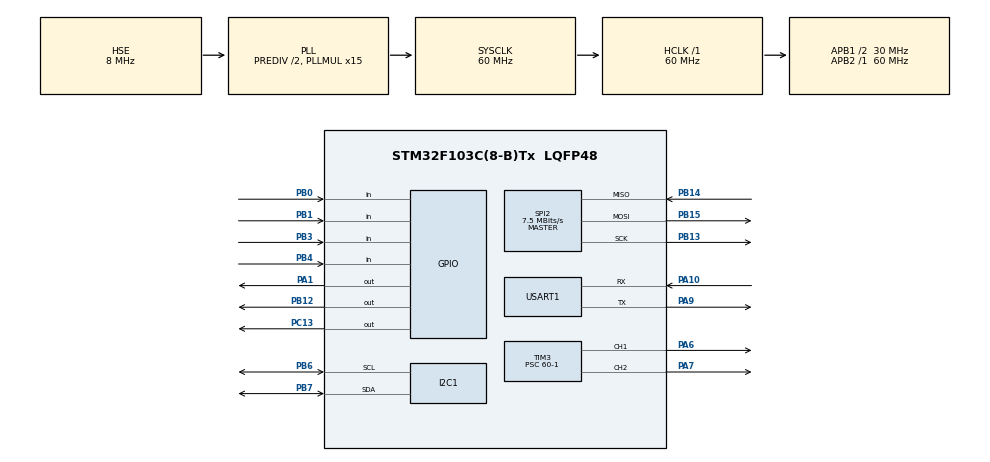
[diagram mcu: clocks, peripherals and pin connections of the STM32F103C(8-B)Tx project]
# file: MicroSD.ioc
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FATFS._MAX_SS=4096
FATFS._USE_LFN=2
FREERTOS.BinarySemaphores01=DC_Motor_Sem,Dynamic,NULL
FREERTOS.Queues01=Mail_Queue,16,Data_Flash_t,0,Dynamic,NULL,NULL;Msg_Queue,16,uint32_t,0,Dynamic,NULL,NULL
FREERTOS.Tasks01=Display_Task,-2,128,Start_Display_Task,Default,NULL,Dynamic,NULL,NULL;Check_Key_Task,2,128,Start_Check_Key_Task,Default,NULL,Dynamic,NULL,NULL;Nhietdo_Task,1,128,Start_Nhietdo_Task,Default,NULL,Dynamic,NULL,NULL;SD_Card_Task,0,128,Start_SD_Card_Task,Default,NULL,Dynamic,NULL,NULL;DC_Motor_Task,2,128,Start_DC_Motor_Task,Default,NULL,Dynamic,NULL,NULL;Flash_Mail_Task,0,128,Start_Flash_Mail_Task,Default,NULL,Dynamic,NULL,NULL;Flash_Msg_Task,0,128,Start_Flash_Msg_Task,Default,NULL,Dynamic,NULL,NULL
FREERTOS.configTOTAL_HEAP_SIZE=6144
IWDG.Prescaler=IWDG_PRESCALER_64
IWDG.Reload=1874
Mcu.Family=STM32F1
Mcu.Name=STM32F103C(8-B)Tx
Mcu.Package=LQFP48
NVIC.PriorityGroup=NVIC_PRIORITYGROUP_4
NVIC.TIM1_UP_IRQn=true\:0\:0\:true\:false\:true\:false\:false\:true\:true
NVIC.TIM4_IRQn=true\:5\:0\:false\:false\:true\:true\:true\:true\:true
NVIC.TimeBase=TIM1_UP_IRQn
NVIC.TimeBaseIP=TIM1
PA1.Signal=GPIO_Output
PA10.Mode=Asynchronous
PA10.Signal=USART1_RX
PA13.Mode=Serial_Wire
PA13.Signal=SYS_JTMS-SWDIO
PA14.Mode=Serial_Wire
PA14.Signal=SYS_JTCK-SWCLK
PA6.Signal=S_TIM3_CH1
PA7.Signal=S_TIM3_CH2
PA9.Mode=Asynchronous
PA9.Signal=USART1_TX
PB0.Signal=GPIO_Input
PB1.Signal=GPIO_Input
PB12.Signal=GPIO_Output
PB13.Mode=Full_Duplex_Master
PB13.Signal=SPI2_SCK
PB14.Mode=Full_Duplex_Master
PB14.Signal=SPI2_MISO
PB15.Mode=Full_Duplex_Master
PB15.Signal=SPI2_MOSI
PB3.Signal=GPIO_Input
PB4.Signal=GPIO_Input
PB6.Mode=I2C
PB6.Signal=I2C1_SCL
PB7.Mode=I2C
PB7.Signal=I2C1_SDA
PC13-TAMPER-RTC.Signal=GPIO_Output
PC14-OSC32_IN.Mode=LSE-External-Oscillator
PC14-OSC32_IN.Signal=RCC_OSC32_IN
PC15-OSC32_OUT.Mode=LSE-External-Oscillator
PC15-OSC32_OUT.Signal=RCC_OSC32_OUT
PD0-OSC_IN.Mode=HSE-External-Oscillator
PD0-OSC_IN.Signal=RCC_OSC_IN
PD1-OSC_OUT.Mode=HSE-External-Oscillator
PD1-OSC_OUT.Signal=RCC_OSC_OUT
ProjectManager.HeapSize=0x200
ProjectManager.StackSize=0x400
ProjectManager.TargetToolchain=MDK-ARM V5.32
RCC.AHBFreq_Value=60000000
RCC.APB1CLKDivider=RCC_HCLK_DIV2
RCC.APB1Freq_Value=30000000
RCC.APB1TimFreq_Value=60000000
RCC.APB2Freq_Value=60000000
RCC.APB2TimFreq_Value=60000000
RCC.HCLKFreq_Value=60000000
RCC.HSEDivPLL=RCC_HSE_PREDIV_DIV2
RCC.PLLMUL=RCC_PLL_MUL15
RCC.PLLSourceVirtual=RCC_PLLSOURCE_HSE
RCC.SYSCLKFreq_VALUE=60000000
RCC.SYSCLKSource=RCC_SYSCLKSOURCE_PLLCLK
RCC.USBFreq_Value=60000000
SH.S_TIM3_CH1.0=TIM3_CH1,PWM Generation1 CH1
SH.S_TIM3_CH2.0=TIM3_CH2,PWM Generation2 CH2
SPI2.BaudRatePrescaler=SPI_BAUDRATEPRESCALER_4
SPI2.CalculateBaudRate=7.5 MBits/s
SPI2.Direction=SPI_DIRECTION_2LINES
SPI2.Mode=SPI_MODE_MASTER
SPI2.VirtualType=VM_MASTER
TIM2.Prescaler=60-1
TIM3.Channel-PWM\ Generation1\ CH1=TIM_CHANNEL_1
TIM3.Channel-PWM\ Generation2\ CH2=TIM_CHANNEL_2
TIM3.Period=1000-1
TIM3.Prescaler=60-1
TIM4.Period=1000-1
TIM4.Prescaler=60000-1
TIM4.TIM_MasterOutputTrigger=TIM_TRGO_UPDATE
USART1.VirtualMode=VM_ASYNC
VP_FATFS_VS_Generic.Mode=User_defined
VP_FREERTOS_VS_CMSIS_V1.Mode=CMSIS_V1
VP_IWDG_VS_IWDG.Mode=IWDG_Activate
VP_SYS_VS_tim1.Mode=TIM1
VP_TIM2_VS_ClockSourceINT.Mode=Internal
VP_TIM4_VS_ClockSourceINT.Mode=Internal
board=custom

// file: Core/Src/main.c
/* USER CODE BEGIN Header */
/**
  ******************************************************************************
  * @file           : main.c
  * @brief          : Main program body
  ******************************************************************************
  * @attention
  *
  * Copyright (c) 2023 STMicroelectronics.
  * All rights reserved.
  *
  * This software is licensed under terms that can be found in the LICENSE file
  * in the root directory of this software component.
  * If no LICENSE file comes with this software, it is provided AS-IS.
  *
  ******************************************************************************
  */
/* USER CODE END Header */
#include "main.h"
#include "cmsis_os.h"
#include "fatfs.h"

/* USER CODE BEGIN Includes */
#include "fatfs_sd.h"
#include <string.h>
#include <stdio.h>
#include "keypad.h"
#include "flash.h"
#include "ds18b20.h"
#include "DC_motor.h"
#include "CLCD_I2C.h"
/* USER CODE END Includes */

I2C_HandleTypeDef hi2c1;

IWDG_HandleTypeDef hiwdg;

SPI_HandleTypeDef hspi2;

TIM_HandleTypeDef htim2;
TIM_HandleTypeDef htim3;
TIM_HandleTypeDef htim4;

UART_HandleTypeDef huart1;

osThreadId Display_TaskHandle;
osThreadId Check_Key_TaskHandle;
osThreadId Nhietdo_TaskHandle;
osThreadId SD_Card_TaskHandle;
osThreadId DC_Motor_TaskHandle;
osThreadId Flash_Mail_TaskHandle;
osThreadId Flash_Msg_TaskHandle;
osMailQId Mail_QueueHandle;
osMessageQId Msg_QueueHandle;
osSemaphoreId DC_Motor_SemHandle;
/* USER CODE BEGIN PV */
FATFS fs;						//FATFS file system
FIL fil;						//variable for file
FRESULT fresult;		//state of action to file

UINT br, bw;				//number of bytes for file read/write , use in f_read or f_write func

uint32_t temp_min = 10;		//Nguong nhiet do
uint32_t temp_max = 30;		//Nguong nhiet do
uint32_t Ds18b20_temp;		//Gia tri nhiet do thuc te

char tempVal[3];		//Bien trung gian dua gia tri nhiet do ve String
char speedVal[4];	//Bien trung gian dua gia tri toc do ve String

uint8_t mode=5;			//Lua chon che do dieu khien dong co
uint8_t on=5;								//variable for on/off motor

uint32_t current_speed = 0;		//Toc do duoc dat vao dong co

CLCD_I2C_Name LCD1;			//LCD handler

uint8_t keypad_speed = 5;		//%speed value from keypad

uint32_t count=5;						//Bien dem so lan viet vao the SD

uint32_t page_127_addr = FLASH_BASE + 127*1024;			//Dia chi cua PAGE 127, moi page la 1kB = 1*2^10 Byte
uint32_t page_126_addr = FLASH_BASE + 126*1024;			//Dia chi cua PAGE 126, moi page la 1kB = 1*2^10 Byte

uint8_t key = 0xFF;		//Luu tru nut vua duoc nhan

char *file_name = "viettel.txt";			//Tên file trong SD

//Structure to save in mail flash
typedef struct
{
	uint8_t on_t;
	uint8_t mode_t;
	uint8_t keypad_speed_t;
}
Data_Flash_t;

char buffer[1024];	//buffer to send data to UART

volatile uint16_t Timer1, Timer2;		//Bien timer xu ly Low level cua FATFS
volatile uint8_t FatFs_Cnt = 0;

/* USER CODE END PV */

void SystemClock_Config(void);
static void MX_GPIO_Init(void);
static void MX_SPI2_Init(void);
static void MX_USART1_UART_Init(void);
static void MX_IWDG_Init(void);
static void MX_TIM4_Init(void);
static void MX_I2C1_Init(void);
static void MX_TIM2_Init(void);
static void MX_TIM3_Init(void);
void Start_Display_Task(void const * argument);
void Start_Check_Key_Task(void const * argument);
void Start_Nhietdo_Task(void const * argument);
void Start_SD_Card_Task(void const * argument);
void Start_DC_Motor_Task(void const * argument);
void Start_Flash_Mail_Task(void const * argument);
void Start_Flash_Msg_Task(void const * argument);

/* USER CODE BEGIN PFP */
int bufsize(char *buf);
void send_uart(char *string);
void bufclear (void);
void get_SD_size(void);
/* USER CODE END PFP */

int main(void)
{

  /* MCU Configuration--------------------------------------------------------*/

  /* Reset of all peripherals, Initializes the Flash interface and the Systick. */
  HAL_Init();

  /* Configure the system clock */
  SystemClock_Config();

  /* Initialize all configured peripherals */
  MX_GPIO_Init();
  MX_SPI2_Init();
  MX_USART1_UART_Init();
  MX_FATFS_Init();
  MX_IWDG_Init();
  MX_TIM4_Init();
  MX_I2C1_Init();
  MX_TIM2_Init();
  MX_TIM3_Init();
  /* USER CODE BEGIN 2 */

	HAL_TIM_PWM_Start(&htim3, TIM_CHANNEL_1);		//Init PWM on timer 3, channel 1
	HAL_TIM_PWM_Start(&htim3, TIM_CHANNEL_2); 	//Init PWM on timer 3, channel 2
	DC_motor_Enable(DC_MOTOR_ENABLE);						//ENABLE dc_motor
	CLCD_I2C_Init(&LCD1,&hi2c1,0x4e,20,4);			//Init LCD with i2c 1

	/*Khoi dong*/
	HAL_IWDG_Refresh(&hiwdg);			//Load IWDG counter
	//check iwdg reset flag - check reference manual
	if(((RCC->CSR >> 29) & 1U) == 1)
	{
		sprintf(buffer, "\nChuong trinh da duoc reset\n");	//save data want to display to buffer
		send_uart(buffer);
		bufclear();		//Clear buffer

		RCC->CSR |= 1 << 24;			//remove reset flag
	}

	/*Doc bo nho flash tai page 126, gia tri count: 4 byte, voi byte o dia chi cao la MSB */
	count = FLASH_ReadWorld(page_126_addr);			//Read 4 byte in page 126

	/*Doc bo nho flash tai page 127, 3 byte dau` la byte on, mode, keypad_speed
		byte thu 4 la byte trông', 4 byte tiep theo la gia tri count, voi byte o
		dia chi cao la MSB */
	on = FLASH_Read1Byte(page_127_addr);
	mode = FLASH_Read1Byte(page_127_addr + 1);
	keypad_speed = FLASH_Read1Byte(page_127_addr + 2);

	//So sanh cac gia tri doc duoc co bang` 0xFF hay khong, neu co thi dua cac gia tri ve 0
	//NOTE: 0xFF la gia tri default cua flash, tuc la flash chua bao gio duoc ghi gia tri
	on = (on == 0xFF) ? 0 : on;
	mode = (mode == 0xFF) ? 0 : mode;
	keypad_speed = (keypad_speed == 0xFF) ? 0 : keypad_speed;
	count = (count == 0xFFFFFFFF) ? 0 : count;

	/*Hien thi ban dau cua chuong trinh*/
	sprintf(buffer, "\nChuong trinh bat dau\n");	//save data want to display to buffer
	send_uart(buffer);
	bufclear();		//Clear buffer

	fresult = f_mount(&fs, "/", 1);
	if(fresult != FR_OK)
	{
		//Error handler
		sprintf(buffer, "\nLoi tai Khoi dau - Mount, %d\n", fresult);
		send_uart(buffer);
		bufclear();
		Error_Handler();
	}

  /* USER CODE END 2 */

  /* Create the semaphores(s) */
  /* definition and creation of DC_Motor_Sem */
  osSemaphoreDef(DC_Motor_Sem);
  DC_Motor_SemHandle = osSemaphoreCreate(osSemaphore(DC_Motor_Sem), 1);

  /* Create the queue(s) */
  /* definition and creation of Mail_Queue */
  osMailQDef(Mail_Queue, 16, Data_Flash_t);
  Mail_QueueHandle = osMailCreate(osMailQ(Mail_Queue), NULL);

  /* definition and creation of Msg_Queue */
  osMessageQDef(Msg_Queue, 16, uint32_t);
  Msg_QueueHandle = osMessageCreate(osMessageQ(Msg_Queue), NULL);

  /* Create the thread(s) */
  /* definition and creation of Display_Task */
  osThreadDef(Display_Task, Start_Display_Task, osPriorityLow, 0, 128);
  Display_TaskHandle = osThreadCreate(osThread(Display_Task), NULL);

  /* definition and creation of Check_Key_Task */
  osThreadDef(Check_Key_Task, Start_Check_Key_Task, osPriorityHigh, 0, 128);
  Check_Key_TaskHandle = osThreadCreate(osThread(Check_Key_Task), NULL);

  /* definition and creation of Nhietdo_Task */
  osThreadDef(Nhietdo_Task, Start_Nhietdo_Task, osPriorityRealtime, 0, 170);
  Nhietdo_TaskHandle = osThreadCreate(osThread(Nhietdo_Task), NULL);

  /* definition and creation of SD_Card_Task */
  osThreadDef(SD_Card_Task, Start_SD_Card_Task, osPriorityNormal, 0, 128);
  SD_Card_TaskHandle = osThreadCreate(osThread(SD_Card_Task), NULL);

  /* definition and creation of DC_Motor_Task */
  osThreadDef(DC_Motor_Task, Start_DC_Motor_Task, osPriorityHigh, 0, 128);
  DC_Motor_TaskHandle = osThreadCreate(osThread(DC_Motor_Task), NULL);

  /* definition and creation of Flash_Mail_Task */
  osThreadDef(Flash_Mail_Task, Start_Flash_Mail_Task, osPriorityNormal, 0, 128);
  Flash_Mail_TaskHandle = osThreadCreate(osThread(Flash_Mail_Task), NULL);

  /* definition and creation of Flash_Msg_Task */
  osThreadDef(Flash_Msg_Task, Start_Flash_Msg_Task, osPriorityNormal, 0, 128);
  Flash_Msg_TaskHandle = osThreadCreate(osThread(Flash_Msg_Task), NULL);

  /* Start scheduler */
  osKernelStart();

  /* We should never get here as control is now taken by the scheduler */
  /* Infinite loop */
  while (1)
  {

  }
}

void SystemClock_Config(void)
{
  RCC_OscInitTypeDef RCC_OscInitStruct = {0};
  RCC_ClkInitTypeDef RCC_ClkInitStruct = {0};

  /** Initializes the RCC Oscillators according to the specified parameters
  * in the RCC_OscInitTypeDef structure.
  */
  RCC_OscInitStruct.OscillatorType = RCC_OSCILLATORTYPE_LSI|RCC_OSCILLATORTYPE_HSE;
  RCC_OscInitStruct.HSEState = RCC_HSE_ON;
  RCC_OscInitStruct.HSEPredivValue = RCC_HSE_PREDIV_DIV2;
  RCC_OscInitStruct.HSIState = RCC_HSI_ON;
  RCC_OscInitStruct.LSIState = RCC_LSI_ON;
  RCC_OscInitStruct.PLL.PLLState = RCC_PLL_ON;
  RCC_OscInitStruct.PLL.PLLSource = RCC_PLLSOURCE_HSE;
  RCC_OscInitStruct.PLL.PLLMUL = RCC_PLL_MUL15;
  if (HAL_RCC_OscConfig(&RCC_OscInitStruct) != HAL_OK)
  {
    Error_Handler();
  }

  /** Initializes the CPU, AHB and APB buses clocks
  */
  RCC_ClkInitStruct.ClockType = RCC_CLOCKTYPE_HCLK|RCC_CLOCKTYPE_SYSCLK
                              |RCC_CLOCKTYPE_PCLK1|RCC_CLOCKTYPE_PCLK2;
  RCC_ClkInitStruct.SYSCLKSource = RCC_SYSCLKSOURCE_PLLCLK;
  RCC_ClkInitStruct.AHBCLKDivider = RCC_SYSCLK_DIV1;
  RCC_ClkInitStruct.APB1CLKDivider = RCC_HCLK_DIV2;
  RCC_ClkInitStruct.APB2CLKDivider = RCC_HCLK_DIV1;

  if (HAL_RCC_ClockConfig(&RCC_ClkInitStruct, FLASH_LATENCY_2) != HAL_OK)
  {
    Error_Handler();
  }
}

static void MX_I2C1_Init(void)
{

  hi2c1.Instance = I2C1;
  hi2c1.Init.ClockSpeed = 100000;
  hi2c1.Init.DutyCycle = I2C_DUTYCYCLE_2;
  hi2c1.Init.OwnAddress1 = 0;
  hi2c1.Init.AddressingMode = I2C_ADDRESSINGMODE_7BIT;
  hi2c1.Init.DualAddressMode = I2C_DUALADDRESS_DISABLE;
  hi2c1.Init.OwnAddress2 = 0;
  hi2c1.Init.GeneralCallMode = I2C_GENERALCALL_DISABLE;
  hi2c1.Init.NoStretchMode = I2C_NOSTRETCH_DISABLE;
  if (HAL_I2C_Init(&hi2c1) != HAL_OK)
  {
    Error_Handler();
  }

}

static void MX_IWDG_Init(void)
{

  hiwdg.Instance = IWDG;
  hiwdg.Init.Prescaler = IWDG_PRESCALER_64;
  hiwdg.Init.Reload = 1874;
  if (HAL_IWDG_Init(&hiwdg) != HAL_OK)
  {
    Error_Handler();
  }

}

static void MX_SPI2_Init(void)
{

  /* SPI2 parameter configuration*/
  hspi2.Instance = SPI2;
  hspi2.Init.Mode = SPI_MODE_MASTER;
  hspi2.Init.Direction = SPI_DIRECTION_2LINES;
  hspi2.Init.DataSize = SPI_DATASIZE_8BIT;
  hspi2.Init.CLKPolarity = SPI_POLARITY_LOW;
  hspi2.Init.CLKPhase = SPI_PHASE_1EDGE;
  hspi2.Init.NSS = SPI_NSS_SOFT;
  hspi2.Init.BaudRatePrescaler = SPI_BAUDRATEPRESCALER_4;
  hspi2.Init.FirstBit = SPI_FIRSTBIT_MSB;
  hspi2.Init.TIMode = SPI_TIMODE_DISABLE;
  hspi2.Init.CRCCalculation = SPI_CRCCALCULATION_DISABLE;
  hspi2.Init.CRCPolynomial = 10;
  if (HAL_SPI_Init(&hspi2) != HAL_OK)
  {
    Error_Handler();
  }

}

static void MX_TIM2_Init(void)
{

  TIM_ClockConfigTypeDef sClockSourceConfig = {0};
  TIM_MasterConfigTypeDef sMasterConfig = {0};

  htim2.Instance = TIM2;
  htim2.Init.Prescaler = 60-1;
  htim2.Init.CounterMode = TIM_COUNTERMODE_UP;
  htim2.Init.Period = 65535;
  htim2.Init.ClockDivision = TIM_CLOCKDIVISION_DIV1;
  htim2.Init.AutoReloadPreload = TIM_AUTORELOAD_PRELOAD_DISABLE;
  if (HAL_TIM_Base_Init(&htim2) != HAL_OK)
  {
    Error_Handler();
  }
  sClockSourceConfig.ClockSource = TIM_CLOCKSOURCE_INTERNAL;
  if (HAL_TIM_ConfigClockSource(&htim2, &sClockSourceConfig) != HAL_OK)
  {
    Error_Handler();
  }
  sMasterConfig.MasterOutputTrigger = TIM_TRGO_RESET;
  sMasterConfig.MasterSlaveMode = TIM_MASTERSLAVEMODE_DISABLE;
  if (HAL_TIMEx_MasterConfigSynchronization(&htim2, &sMasterConfig) != HAL_OK)
  {
    Error_Handler();
  }

}

static void MX_TIM3_Init(void)
{

  TIM_MasterConfigTypeDef sMasterConfig = {0};
  TIM_OC_InitTypeDef sConfigOC = {0};

  htim3.Instance = TIM3;
  htim3.Init.Prescaler = 60-1;
  htim3.Init.CounterMode = TIM_COUNTERMODE_UP;
  htim3.Init.Period = 1000-1;
  htim3.Init.ClockDivision = TIM_CLOCKDIVISION_DIV1;
  htim3.Init.AutoReloadPreload = TIM_AUTORELOAD_PRELOAD_DISABLE;
  if (HAL_TIM_PWM_Init(&htim3) != HAL_OK)
  {
    Error_Handler();
  }
  sMasterConfig.MasterOutputTrigger = TIM_TRGO_RESET;
  sMasterConfig.MasterSlaveMode = TIM_MASTERSLAVEMODE_DISABLE;
  if (HAL_TIMEx_MasterConfigSynchronization(&htim3, &sMasterConfig) != HAL_OK)
  {
    Error_Handler();
  }
  sConfigOC.OCMode = TIM_OCMODE_PWM1;
  sConfigOC.Pulse = 0;
  sConfigOC.OCPolarity = TIM_OCPOLARITY_HIGH;
  sConfigOC.OCFastMode = TIM_OCFAST_DISABLE;
  if (HAL_TIM_PWM_ConfigChannel(&htim3, &sConfigOC, TIM_CHANNEL_1) != HAL_OK)
  {
    Error_Handler();
  }
  if (HAL_TIM_PWM_ConfigChannel(&htim3, &sConfigOC, TIM_CHANNEL_2) != HAL_OK)
  {
    Error_Handler();
  }
  HAL_TIM_MspPostInit(&htim3);

}

static void MX_TIM4_Init(void)
{

  TIM_ClockConfigTypeDef sClockSourceConfig = {0};
  TIM_MasterConfigTypeDef sMasterConfig = {0};

  htim4.Instance = TIM4;
  htim4.Init.Prescaler = 60000-1;
  htim4.Init.CounterMode = TIM_COUNTERMODE_UP;
  htim4.Init.Period = 1000-1;
  htim4.Init.ClockDivision = TIM_CLOCKDIVISION_DIV1;
  htim4.Init.AutoReloadPreload = TIM_AUTORELOAD_PRELOAD_DISABLE;
  if (HAL_TIM_Base_Init(&htim4) != HAL_OK)
  {
    Error_Handler();
  }
  sClockSourceConfig.ClockSource = TIM_CLOCKSOURCE_INTERNAL;
  if (HAL_TIM_ConfigClockSource(&htim4, &sClockSourceConfig) != HAL_OK)
  {
    Error_Handler();
  }
  sMasterConfig.MasterOutputTrigger = TIM_TRGO_UPDATE;
  sMasterConfig.MasterSlaveMode = TIM_MASTERSLAVEMODE_DISABLE;
  if (HAL_TIMEx_MasterConfigSynchronization(&htim4, &sMasterConfig) != HAL_OK)
  {
    Error_Handler();
  }

}

static void MX_USART1_UART_Init(void)
{

  huart1.Instance = USART1;
  huart1.Init.BaudRate = 115200;
  huart1.Init.WordLength = UART_WORDLENGTH_8B;
  huart1.Init.StopBits = UART_STOPBITS_1;
  huart1.Init.Parity = UART_PARITY_NONE;
  huart1.Init.Mode = UART_MODE_TX_RX;
  huart1.Init.HwFlowCtl = UART_HWCONTROL_NONE;
  huart1.Init.OverSampling = UART_OVERSAMPLING_16;
  if (HAL_UART_Init(&huart1) != HAL_OK)
  {
    Error_Handler();
  }

}

static void MX_GPIO_Init(void)
{
  GPIO_InitTypeDef GPIO_InitStruct = {0};

  /* GPIO Ports Clock Enable */
  __HAL_RCC_GPIOC_CLK_ENABLE();
  __HAL_RCC_GPIOD_CLK_ENABLE();
  __HAL_RCC_GPIOA_CLK_ENABLE();
  __HAL_RCC_GPIOB_CLK_ENABLE();

  /*Configure GPIO pin Output Level */
  HAL_GPIO_WritePin(GPIOC, GPIO_PIN_13, GPIO_PIN_RESET);

  /*Configure GPIO pin Output Level */
  HAL_GPIO_WritePin(GPIOA, GPIO_PIN_1, GPIO_PIN_RESET);

  /*Configure GPIO pin Output Level */
  HAL_GPIO_WritePin(GPIOB, GPIO_PIN_12, GPIO_PIN_RESET);

  /*Configure GPIO pin : PC13 */
  GPIO_InitStruct.Pin = GPIO_PIN_13;
  GPIO_InitStruct.Mode = GPIO_MODE_OUTPUT_PP;
  GPIO_InitStruct.Pull = GPIO_NOPULL;
  GPIO_InitStruct.Speed = GPIO_SPEED_FREQ_LOW;
  HAL_GPIO_Init(GPIOC, &GPIO_InitStruct);

  /*Configure GPIO pin : PA1 */
  GPIO_InitStruct.Pin = GPIO_PIN_1;
  GPIO_InitStruct.Mode = GPIO_MODE_OUTPUT_PP;
  GPIO_InitStruct.Pull = GPIO_NOPULL;
  GPIO_InitStruct.Speed = GPIO_SPEED_FREQ_LOW;
  HAL_GPIO_Init(GPIOA, &GPIO_InitStruct);

  /*Configure GPIO pins : PB0 PB1 PB3 PB4 */
  GPIO_InitStruct.Pin = GPIO_PIN_0|GPIO_PIN_1|GPIO_PIN_3|GPIO_PIN_4;
  GPIO_InitStruct.Mode = GPIO_MODE_INPUT;
  GPIO_InitStruct.Pull = GPIO_NOPULL;
  HAL_GPIO_Init(GPIOB, &GPIO_InitStruct);

  /*Configure GPIO pin : PB12 */
  GPIO_InitStruct.Pin = GPIO_PIN_12;
  GPIO_InitStruct.Mode = GPIO_MODE_OUTPUT_PP;
  GPIO_InitStruct.Pull = GPIO_NOPULL;
  GPIO_InitStruct.Speed = GPIO_SPEED_FREQ_LOW;
  HAL_GPIO_Init(GPIOB, &GPIO_InitStruct);

}

/* USER CODE BEGIN 4 */

//Xu ly thoi gian cua Low level FATFS
void SD_Timer_Handler(void)
{
	if(Timer1 > 0)
	{
		Timer1--;
	}

	if(Timer2 > 0)
	{
		Timer2--;
	}
}

/**
  * @brief GPIO Output Configuration
  * @retval None
  */
void GPIO_Output(GPIO_TypeDef *GPIOx, uint16_t GPIO_Pin)
{
	//Khai bao bien GPIO_Init theo kieu du lieu GPIO_InitTypeDef
	GPIO_InitTypeDef GPIO_InitStruct = {0};
	//Chon chan
	GPIO_InitStruct.Pin = GPIO_Pin;
	//Chon che do Output PushPull
  GPIO_InitStruct.Mode = GPIO_MODE_OUTPUT_PP;
  GPIO_InitStruct.Speed = GPIO_SPEED_FREQ_LOW;
	//Initialize
  HAL_GPIO_Init(GPIOx, &GPIO_InitStruct);
}

/**
  * @brief GPIO Input Configuration
  * @retval None
  */
void GPIO_Input(GPIO_TypeDef *GPIOx, uint16_t GPIO_Pin)
{
	//Khai bao bien GPIO_Init theo kieu du lieu GPIO_InitTypeDef
	GPIO_InitTypeDef GPIO_InitStruct = {0};
	//Chon chan
	GPIO_InitStruct.Pin = GPIO_Pin;
	//Chon che do Input
  GPIO_InitStruct.Mode = GPIO_MODE_INPUT;
	//Khong keo tro
  GPIO_InitStruct.Pull = GPIO_PULLUP;
	//Initialize
  HAL_GPIO_Init(GPIOx, &GPIO_InitStruct);
}

/**
  * @brief Delay microsecond using timer 2
	* @variable time delay in us
  * @retval None
  */
void delay_us(uint16_t time_us)
{
//	HAL_TIM_Base_Start(&htim2);
	TIM2->CR1|=(TIM_CR1_CEN);			//Bat timer2 len
	__HAL_TIM_SET_COUNTER(&htim2,0);		//dat gia tri counter cua timer = 0
	while(__HAL_TIM_GET_COUNTER(&htim2)<time_us);
}

/**
  * @brief Set %speed of PWM output
	* @variable tim_channel: channel want to change speed
	* @variable speed: speed in %
  * @retval None
  */
void PWM_Speed(uint32_t tim_channel, uint32_t speed){
	uint32_t max_count = htim3.Init.Period; 	//So lan dem nhieu nhat co the cua timer
	speed = (speed > 100)	? 100 : speed ;
	speed = speed*max_count/100;		//Do speed la % nen can dat gia tri so lan dem
	TIM3->CR1 |= 1 << 0;
	__HAL_TIM_SET_COMPARE(&htim3,	tim_channel, speed);
}

/**
  * @brief Convert temparature and speed to string in order to Display
  * @retval None
  */
void Convert_data(void){
	sprintf(tempVal, "%2.0f", (float)Ds18b20_temp);
	sprintf(speedVal, "%3.0f", (float)current_speed);
}

void UART_Display(void){
	//Dong 1
	sprintf(buffer, "\nNhiet do: %2.0fºC\n", (float)Ds18b20_temp);
	send_uart(buffer);
	bufclear();
	//Dong 2
	sprintf(buffer, "Toc do: %3.0f%%\n", (float)current_speed);
	send_uart(buffer);
	bufclear();
	//Dong 3
	sprintf(buffer, "Size of file: %ld\n", f_size(&fil));
	send_uart(buffer);
	bufclear();
}

/**
  * @brief Dipslay Temp and % Speed at the moment use I2C_LCD
  * @retval None
  */
void LCD_Display(void){
	//Line 1
	CLCD_I2C_SetCursor(&LCD1,0,0);
	CLCD_I2C_WriteString(&LCD1,"Nhiet do:");
	CLCD_I2C_SetCursor(&LCD1,9,0);
	CLCD_I2C_WriteString(&LCD1,tempVal);
	CLCD_I2C_SetCursor(&LCD1,11,0);
	CLCD_I2C_WriteChar(&LCD1,0xDF);	//Ký tu "º"
	CLCD_I2C_SetCursor(&LCD1,12,0);
	CLCD_I2C_WriteString(&LCD1,"C");
	//Line 2
	CLCD_I2C_SetCursor(&LCD1,0,1);
	CLCD_I2C_WriteString(&LCD1,"Toc do:");
	CLCD_I2C_SetCursor(&LCD1,7,1);
	CLCD_I2C_WriteString(&LCD1,speedVal);
	CLCD_I2C_SetCursor(&LCD1,10,1);
	CLCD_I2C_WriteString(&LCD1,"%");
}

/**
  * @brief Send the string use UART1
  * @param *string: address of first character
  * @retval None
  */
void send_uart(char *string)
{
	uint8_t len = strlen(string);
	HAL_UART_Transmit(&huart1, (uint8_t *)string, len, HAL_MAX_DELAY);
}

/**
  * @brief Find the size of buffer
  * @param pointer to buffer wanna find the size
  * @retval size of buffer
  */
int bufsize(char *buf)
{
	int i=0;
	while(*buf++ != '\0')
	{
		i++;
	}
	return i;
}

/**
  * @brief Clear the buffer variable
  * @param None
  * @retval None
  */
void bufclear (void)
{
	for(int i=0; i < 1024; i++)
	{
		buffer[i] = '\0';
	}
}

/* USER CODE END 4 */

void Start_Display_Task(void const * argument)
{
  /* USER CODE BEGIN 5 */
  /* Infinite loop */
  for(;;)
  {
		HAL_IWDG_Refresh(&hiwdg);		//Reload IWDG counter
		//Chuyen doi du lieu ve string
		Convert_data();

		LCD_Display();

		UART_Display();

    osDelay(200);			//Cycle 200ms
  }
  /* USER CODE END 5 */
}

void Start_Check_Key_Task(void const * argument)
{
  /* USER CODE BEGIN Start_Check_Key_Task */
	Data_Flash_t *data_temp_t;		//Bien structure de gui lieu
	uint8_t flag = 0;		//Bien kiem tra xem co nut nhan hay khong
  /* Infinite loop */
  for(;;)
  {
		HAL_IWDG_Refresh(&hiwdg);		//Reload IWDG counter

		key = keypad_read();
		if(key == 1){
			//Key 1: on/off dong co
			on = on % 2 + 1;			//Cap nhat gia tri on
			flag = 1;
		}
		if(key == 2){
			//Key 2: thay doi mode dieu khien toc do
			mode = mode % 2 + 1;
			flag = 1;
		}
		if(key == 3){
			//Key 3: tang toc do dong co
			if(keypad_speed >= 100)
			{
				keypad_speed = 100;
			}
			else
			{
				keypad_speed = keypad_speed + 5;
			}
			flag = 1;
		}
		if(key == 4){
			//Key 4: giam toc do dong co
			if(keypad_speed <= 0)
			{
				keypad_speed = 0;
			}
			else
			{
				keypad_speed = keypad_speed - 5;
			}
			flag = 1;
		}
		if(flag == 1)
		{
			/*Release Semaphore*/
			osSemaphoreRelease(DC_Motor_SemHandle);

			/*Send Mail Queue*/
			//Cap phat bo nho
			data_temp_t = osMailAlloc(Mail_QueueHandle,osWaitForever);
			//Luu gia tri
			data_temp_t->on_t = on;
			data_temp_t->mode_t = mode;
			data_temp_t->keypad_speed_t = keypad_speed;
			//Gui vao mail queue
			osMailPut(Mail_QueueHandle, data_temp_t);

			flag = 0;
		}
    osDelay(5);
  }
  /* USER CODE END Start_Check_Key_Task */
}

void Start_Nhietdo_Task(void const * argument)
{
  /* USER CODE BEGIN Start_Nhietdo_Task */
  /* Infinite loop */
  for(;;)
  {
		Ds18b20_temp = Ds18b20_NhietDo();
		if (Ds18b20_temp == 1)
		{
			/*Cam bien bi loi*/
			sprintf(buffer, "\nLoi cam bien nhiet do\n");
			send_uart(buffer);		//Hien thi UART cam bien loi
			bufclear();
			Error_Handler();		//Vong lap vo han
		}
		/*Release Semaphore*/
		osSemaphoreRelease(DC_Motor_SemHandle);
		osDelay(5000);	//cycle 5s
  }
  /* USER CODE END Start_Nhietdo_Task */
}

void Start_SD_Card_Task(void const * argument)
{
  /* USER CODE BEGIN Start_SD_Card_Task */
  /* Infinite loop */
  for(;;)
  {
		/*Action with SD Card*/

		//Open file with OPEN_ALWAYS and WRITE mode
		fresult = f_open(&fil, file_name, FA_OPEN_ALWAYS|FA_WRITE);
		if(fresult != FR_OK){
			//Error handler
			sprintf(buffer, "\nLoi tai SD task - Open, %d\n", fresult);
			send_uart(buffer);
			bufclear();
			Error_Handler();
		}

		//Dua con tro cua file xuong phia cuoi de update file
		fresult = f_lseek(&fil, f_size(&fil));
		if(fresult != FR_OK){
			//Error handler
			sprintf(buffer, "\nLoi tai SD task - Lseek, %d\n", fresult);
			send_uart(buffer);
			bufclear();
			Error_Handler();
		}

		//Write data to file
		sprintf(buffer, "%d) Nhiet do: %2.0fºC; Toc do: %3.0f%%\n",count++, (float)Ds18b20_temp, (float)current_speed);
		fresult = f_write(&fil, buffer, bufsize(buffer),&bw);
		if(fresult != FR_OK){
			//Error handler
			sprintf(buffer, "\nLoi tai SD task - Write, %d\n", fresult);
			send_uart(buffer);
			bufclear();
			Error_Handler();
		}
		bufclear();			//Clear buffer after write finish

		//Close file
		fresult = f_close(&fil);
		if(fresult != FR_OK){
			//Error handler
			sprintf(buffer, "\nLoi tai SD task - Close, %d\n", fresult);
			send_uart(buffer);
			bufclear();
			Error_Handler();
		}

		/*Dua gia tri count vao Msg Queue*/
		osMessagePut(Msg_QueueHandle, count, osWaitForever);

    osDelay(10000);		//Cycle 10s
  }
  /* USER CODE END Start_SD_Card_Task */
}

void Start_DC_Motor_Task(void const * argument)
{
  /* USER CODE BEGIN Start_DC_Motor_Task */
  /* Infinite loop */
  for(;;)
  {
		/*Wait Semaphore*/
		osSemaphoreWait(DC_Motor_SemHandle,osWaitForever);

		/*check motor state*/
		if(on % 2 == 0)
		{
			//Dong co dang tat => toc do = 0
			current_speed = 0;
		}
		else if(mode % 2 == 0)
		{
			//Che do dieu khien theo nut nhan
			current_speed = keypad_speed;
		}
		else
		{
			//Che do dieu khien theo nhiet do
			current_speed = DC_motor_Speed_Based_on_Temp(Ds18b20_temp);
		}

		DC_motor_PWM(current_speed);		//export speed to DC_motor
		osDelay(1);
  }
  /* USER CODE END Start_DC_Motor_Task */
}

void Start_Flash_Mail_Task(void const * argument)
{
  /* USER CODE BEGIN Start_Flash_Mail_Task */
	Data_Flash_t *value_t;		//Bien luu tru Mail Queue nhan duoc
	osEvent ret_mail;			//Bien luu tru Event cua Mail Queue
	uint8_t temp[4];			//Bien trung gian de luu vao flash
  /* Infinite loop */
  for(;;)
  {
		/*Wait Mail Queue*/
		ret_mail = osMailGet(Mail_QueueHandle, osWaitForever);

		value_t = ret_mail.value.p;

		temp[0] = value_t->on_t;
		temp[1] = value_t->mode_t;
		temp[2] = value_t->keypad_speed_t;
		temp[3] = 0;	//Dummy variable - Do ta chi co the viet 2 byte cung luc vao flash

		//Truoc khi viet vao flash => Can clear truoc
		FLASH_ErasePage(page_127_addr);
		FLASH_WriteArray(page_127_addr, temp, 4);		//Viet vao page 127

    osDelay(10);
  }
  /* USER CODE END Start_Flash_Mail_Task */
}

void Start_Flash_Msg_Task(void const * argument)
{
  /* USER CODE BEGIN Start_Flash_Msg_Task */
	uint32_t temp;			//Bien dem nhan gia tri Msg Queue
	osEvent ret_msg;		//Event nhan duoc tu Msg Queue
  /* Infinite loop */
  for(;;)
  {
		//Nhan event
		ret_msg = osMessageGet(Msg_QueueHandle, osWaitForever);

		//Luu gia tri va viet vao Page 126 cua flash
		temp = ret_msg.value.v;
		FLASH_ErasePage(page_126_addr);			//Xoa page
		FLASH_WriteWord(page_126_addr, temp);

    osDelay(10);
  }
  /* USER CODE END Start_Flash_Msg_Task */
}

void HAL_TIM_PeriodElapsedCallback(TIM_HandleTypeDef *htim)
{
  /* USER CODE BEGIN Callback 0 */
	FatFs_Cnt++;
	if(FatFs_Cnt >= 1)
	{
		FatFs_Cnt = 0;
		SD_Timer_Handler();
	}
  /* USER CODE END Callback 0 */
  if (htim->Instance == TIM1) {
    HAL_IncTick();
  }
}

void Error_Handler(void)
{
  /* USER CODE BEGIN Error_Handler_Debug */
  /* User can add his own implementation to report the HAL error return state */
  __disable_irq();
	send_uart("\nLOI!!!!!!!!!!!!!!!");
  while (1)
  {
  }
  /* USER CODE END Error_Handler_Debug */
}
